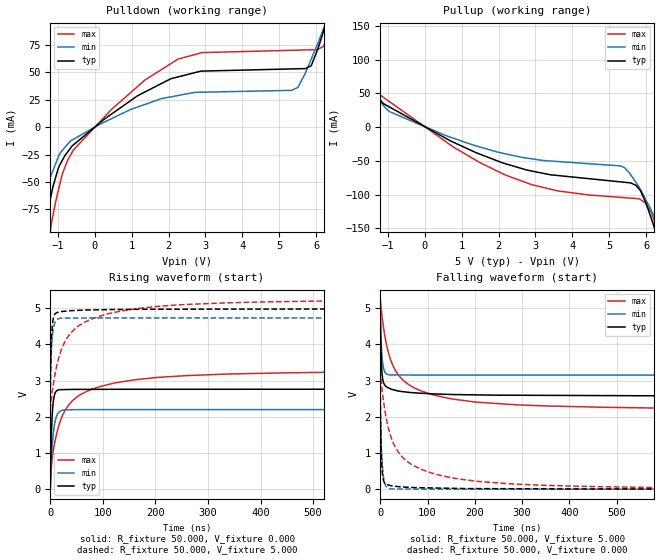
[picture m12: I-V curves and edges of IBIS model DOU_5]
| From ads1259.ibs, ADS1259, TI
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|   2-state Output DOU model 5V
[Model]   DOU_5
Model_type   Output
|Signals   _DRDY
| variable   typ   min   max
|C_comp Output average
C_comp   5.34399E-12   5.62749E-12   5.52909E-12
Vmeas = 1.500V
Cref = 0.000F
[Voltage Range]   5.000V   4.750V   5.250V
[Temperature Range]   27.0   105.0   -40.0
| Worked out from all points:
|   slope of the pulldown table from 0 to 0.75 V, typ, clamps not added: 39.6 ohm
|   slope of the pullup table from 0 to 0.75 V, typ, clamps not added: 33.3 ohm
|   falling waveform, R_fixture 50.000, V_fixture 5.000: 20-80 % time 4.44ns typ, 4.57ns min, 65.4ns max; typ from 4.98 V to 2.57 V
|   rising waveform, R_fixture 50.000, V_fixture 0.000: 20-80 % time 3.82ns typ, 6.69ns min, 56.6ns max; typ from 0 V to 2.76 V
|   rising waveform, R_fixture 50.000, V_fixture 5.000: 20-80 % time 3.35ns typ, 4.84ns min, 64.9ns max; typ from 2.57 V to 4.98 V
|   falling waveform, R_fixture 50.000, V_fixture 0.000: 20-80 % time 3.39ns typ, 5.08ns min, 65.1ns max; typ from 2.76 V to 0 V
[Pulldown]
|   Voltage   I(typ)   I(min)   I(max)
-5V       -836.8mA   -581.7mA   -1.17A
-1.835V   -182.4mA   -119.7mA   -267.5mA
-1.459V   -110.4mA   -73.8mA    -161.6mA
-1.195V   -64.98mA   -45.37mA   -94.31mA
-876.2mV  -30.38mA   -21.39mA   -43.34mA
-577mV    -16.26mA   -11.13mA   -21mA
2.262V    45.87mA    28.89mA    62.11mA
5.495V    53.24mA    36.13mA    70.21mA
5.854V    55.93mA    61.5mA     70.52mA
6.216V    89.78mA    91.72mA    75.24mA
6.366V    105.5mA    104.7mA    92.59mA
9.985V    537.2mA    436.6mA    659.2mA
[Pullup]
|   Voltage   I(typ)   I(min)   I(max)
-5V       458.9mA    365.4mA    591.6mA
-2.993V   233.9mA    190.6mA    294.4mA
-1.924V   114.1mA    97.61mA    138mA
-1.222V   41.79mA    39.7mA     48.28mA
591.5mV   -17.07mA   -12.83mA   -22.18mA
2.905V    -65.03mA   -46.95mA   -85.27mA
5.408V    -81.6mA    -59.94mA   -104.4mA
5.724V    -86.32mA   -82.3mA    -105.7mA
5.964V    -109.1mA   -105.3mA   -111.8mA
6.216V    -148.9mA   -133.5mA   -139.1mA
6.334V    -170.4mA   -147.8mA   -166mA
9.985V    -926.3mA   -683.7mA   -1.208A
[Ramp]
R_load = 50
|   typ   min   max
dV/dt_r   1.65662/3.82284e-09   1.31851/6.64714e-09   1.96736/5.655e-08
dV/dt_f   1.48099/4.44624e-09   0.973936/4.56873e-09   1.83103/6.53844e-08
[Falling Waveform]
R_fixture = 50.000
V_fixture = 5.000
V_fixture_min = 4.750
V_fixture_max = 5.250
C_fixture = 0.000
|  time   V(typ)   V(min)   V(max)
0s        4.982V     4.729V     5.25V
1.18ns    4.024V     4.257V     5.084V
2.953ns   3.35V      3.797V     4.86V
5.451ns   3.015V     3.454V     4.596V
9.529ns   2.873V     3.241V     4.244V
22.64ns   2.765V     3.155V     3.548V
42.53ns   2.701V     3.154V     3.087V
121.5ns   2.627V     3.15V      2.575V
360.9ns   2.59V      3.15V      2.294V
999.2ns   2.574V     3.149V     2.198V
[Rising Waveform]
R_fixture = 50.000
V_fixture = 0.000
V_fixture_min = 0.000
V_fixture_max = 0.000
C_fixture = 0.000
|  time   V(typ)   V(min)   V(max)
0s        1.864uV    7.43uV     482.1nV
1.18ns    972mV      478.8mV    407.2mV
2.09ns    1.471V     778.4mV    604.2mV
4.811ns   2.283V     1.392V     963.4mV
9.506ns   2.667V     1.896V     1.36V
16.58ns   2.745V     2.125V     1.769V
35.35ns   2.753V     2.192V     2.332V
69.01ns   2.756V     2.197V     2.698V
200.4ns   2.759V     2.197V     3.082V
999.2ns   2.761V     2.198V     3.279V
[Rising Waveform]
R_fixture = 50.000
V_fixture = 5.000
V_fixture_min = 4.750
V_fixture_max = 5.250
C_fixture = 0.000
|  time   V(typ)   V(min)   V(max)
0s        2.574V     3.149V     2.198V
1.18ns    3.571V     3.599V     2.371V
2.953ns   4.312V     4.047V     2.594V
5.451ns   4.698V     4.395V     2.864V
8.819ns   4.838V     4.601V     3.158V
22.64ns   4.908V     4.724V     3.908V
39.52ns   4.93V      4.726V     4.324V
125.2ns   4.962V     4.729V     4.892V
340.8ns   4.972V     4.729V     5.147V
999.2ns   4.982V     4.729V     5.25V
[Falling Waveform]
R_fixture = 50.000
V_fixture = 0.000
V_fixture_min = 0.000
V_fixture_max = 0.000
C_fixture = 0.000
|  time   V(typ)   V(min)   V(max)
0s        2.761V     2.198V     3.279V
607.2ps   2.086V     1.878V     3.18V
1.762ns   1.255V     1.362V     3.012V
4.811ns   404.9mV    592.8mV    2.639V
10.2ns    156.9mV    136.5mV    2.137V
22.11ns   97.03mV    7.038mV    1.466V
44.12ns   62.18mV    4.298mV    923.6mV
71.81ns   43.68mV    848.6uV    642.4mV
205.7ns   15.21mV    649uV      214.1mV
999.2ns   1.864uV    7.43uV     482.1nV
